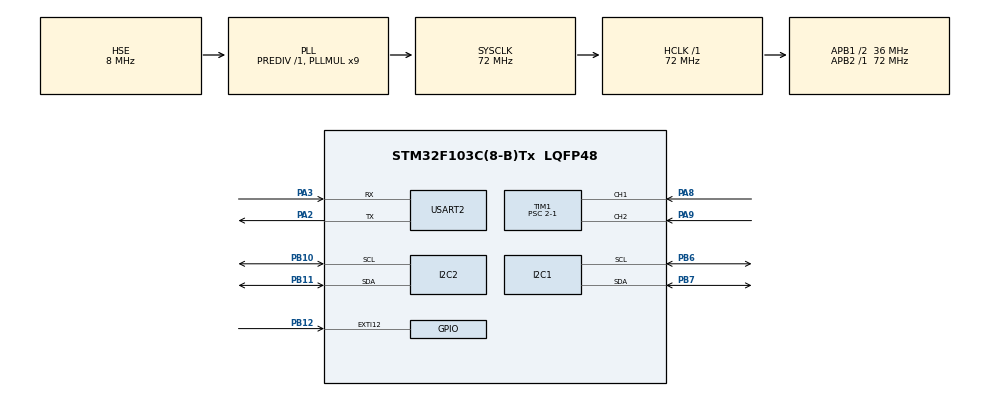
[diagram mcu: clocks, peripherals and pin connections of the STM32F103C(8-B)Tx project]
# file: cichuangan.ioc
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Mcu.Family=STM32F1
Mcu.Name=STM32F103C(8-B)Tx
Mcu.Package=LQFP48
NVIC.EXTI15_10_IRQn=true\:1\:0\:true\:false\:true\:true\:true\:true
NVIC.PriorityGroup=NVIC_PRIORITYGROUP_4
NVIC.TIM2_IRQn=true\:2\:0\:true\:false\:true\:true\:true\:true
PA13.Mode=Serial_Wire
PA13.Signal=SYS_JTMS-SWDIO
PA14.Mode=Serial_Wire
PA14.Signal=SYS_JTCK-SWCLK
PA2.Mode=Asynchronous
PA2.Signal=USART2_TX
PA3.Mode=Asynchronous
PA3.Signal=USART2_RX
PA8.Signal=S_TIM1_CH1
PA9.Signal=S_TIM1_CH2
PB10.Mode=I2C
PB10.Signal=I2C2_SCL
PB11.Mode=I2C
PB11.Signal=I2C2_SDA
PB12.GPIO_ModeDefaultEXTI=GPIO_MODE_IT_FALLING
PB12.GPIO_PuPd=GPIO_PULLUP
PB12.Signal=GPXTI12
PB6.Mode=I2C
PB6.Signal=I2C1_SCL
PB7.Mode=I2C
PB7.Signal=I2C1_SDA
PD0-OSC_IN.Mode=HSE-External-Oscillator
PD0-OSC_IN.Signal=RCC_OSC_IN
PD1-OSC_OUT.Mode=HSE-External-Oscillator
PD1-OSC_OUT.Signal=RCC_OSC_OUT
ProjectManager.HeapSize=0x200
ProjectManager.StackSize=0x400
ProjectManager.TargetToolchain=MDK-ARM V5.32
RCC.AHBFreq_Value=72000000
RCC.APB1CLKDivider=RCC_HCLK_DIV2
RCC.APB1Freq_Value=36000000
RCC.APB1TimFreq_Value=72000000
RCC.APB2Freq_Value=72000000
RCC.APB2TimFreq_Value=72000000
RCC.HCLKFreq_Value=72000000
RCC.PLLMUL=RCC_PLL_MUL9
RCC.PLLSourceVirtual=RCC_PLLSOURCE_HSE
RCC.SYSCLKFreq_VALUE=72000000
RCC.SYSCLKSource=RCC_SYSCLKSOURCE_PLLCLK
RCC.USBFreq_Value=72000000
SH.S_TIM1_CH1.0=TIM1_CH1,Encoder_Interface
SH.S_TIM1_CH2.0=TIM1_CH2,Encoder_Interface
TIM1.IC1Filter=15
TIM1.IC2Filter=15
TIM1.IC2Polarity=TIM_ICPOLARITY_RISING
TIM1.Prescaler=2-1
TIM2.Period=1000-1
TIM2.Prescaler=72-1
USART2.VirtualMode=VM_ASYNC
VP_TIM2_VS_ClockSourceINT.Mode=Internal
board=custom

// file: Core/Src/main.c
/* USER CODE BEGIN Header */
/**
  ******************************************************************************
  * @file           : main.c
  * @brief          : Main program body
  ******************************************************************************
  * @attention
  *
  * Copyright (c) 2024 STMicroelectronics.
  * All rights reserved.
  *
  * This software is licensed under terms that can be found in the LICENSE file
  * in the root directory of this software component.
  * If no LICENSE file comes with this software, it is provided AS-IS.
  *
  ******************************************************************************
  */
/* USER CODE END Header */
#include "main.h"
#include "i2c.h"
#include "tim.h"
#include "usart.h"
#include "gpio.h"

/* USER CODE BEGIN Includes */
//#include "HMC5883.h"
//#include "5883.h"
#include "G85HAL.h"
#include "stdio.h"
#include "math.h"
#include "oled.h"
/* USER CODE END Includes */

/* USER CODE BEGIN PV */
_Bool flag_1s=0,flag_write;
double fangle,inclination;
float rawGaX,rawGaY,rawGaZ,Xoffest=0,Yoffest=0,Zoffest=0,Kx=1,Ky=1,Kz=1,GaX,GaY,GaZ,Magangle,K_x,K_y,K_z;
int modify_num=0;
float *modify_now=NULL;
uint32_t writeFlashData;
uint16_t Count=10000,last_Count=10000;
uint16_t Diretion=0;

/* USER CODE END PV */

void SystemClock_Config(void);

/* USER CODE BEGIN 0 */

#ifdef __GNUC__
#define PUTCHAR_PROTOTYPE int __io_putchar(int ch)
#else
#define PUTCHAR_PROTOTYPE int fputc(int ch, FILE *f)
#endif
PUTCHAR_PROTOTYPE
{
    //huart2
    HAL_UART_Transmit(&huart2 , (uint8_t *)&ch, 1 , 0xffff);
    return ch;
}

//debug 查看对应地址，是否正确，如果显示的是问号，则无此位置
//C6T6 32k  最大地址 0x08007FF0
//C8T6 64k  最大地址 0x0800FFE0
#define FLASH_SAVE_ADDR  0x08007000

static FLASH_EraseInitTypeDef EraseInitStruct = {
	.TypeErase = FLASH_TYPEERASE_PAGES,       //页擦除
	.PageAddress = FLASH_SAVE_ADDR,                //擦除地址
	.NbPages = 1                              //擦除页数
};

/* USER CODE END 0 */

int main(void)
{

  /* MCU Configuration--------------------------------------------------------*/

  /* Reset of all peripherals, Initializes the Flash interface and the Systick. */
  HAL_Init();

  /* Configure the system clock */
  SystemClock_Config();

  /* Initialize all configured peripherals */
  MX_GPIO_Init();
  MX_USART2_UART_Init();
  MX_I2C1_Init();
  MX_I2C2_Init();
  MX_TIM2_Init();
  MX_TIM1_Init();
  /* USER CODE BEGIN 2 */

	OLED_Init();
	//Init_HMC5883L_HAL_test(&hi2c1);
	//HAL_Delay(10);
	//hmc5883l_rawread(&rawGaX,&rawGaY,&rawGaZ);
//	K_x=(951+0.001)/820/rawGaX;
//	K_y=(951+0.001)/820/rawGaY;
//	K_z=(886+0.001)/820/rawGaZ;
	Init_HMC5883L_HAL(&hi2c1);
	TIM2->ARR=7200-1;
	TIM2->PSC=5000-1;
	HAL_TIM_Base_Start_IT(&htim2);
	TIM1->ARR=50000;
	TIM1->PSC=2-1;
	HAL_TIM_Encoder_Start(&htim1,TIM_CHANNEL_ALL);
	__HAL_TIM_SetCounter(&htim1,30000);

	Xoffest=(*(__IO uint32_t*)0x08007000+0.0001)/100;
	if(Xoffest>8) Xoffest-=10;
 // printf("%.2f",Kx);
	Kx=(*(__IO uint32_t*)0x08007004+0.0001)/100;
	Yoffest=(*(__IO uint32_t*)0x08007008+0.0001)/100;
	if(Yoffest>8) Yoffest-=10;
	Ky=(*(__IO uint32_t*)0x0800700C+0.0001)/100;
	Zoffest=(*(__IO uint32_t*)0x08007010+0.0001)/100;
	Kz=(*(__IO uint32_t*)0x08007014+0.0001)/100;
	if(Zoffest>8) Zoffest-=10;
//	caliboration(&Xoffest,&Yoffest,&Zoffest,&Kx,&Ky,&Kz);

//	Xoffest=-0.18;
//	Kx=2.49;
//	Yoffest=0.14;
//	Ky=2.79;
//	Zoffest=0.68;
//	Kz=1.47;

  /* USER CODE END 2 */

  /* Infinite loop */
  /* USER CODE BEGIN WHILE */

  while (1)
  {

//				HAL_Delay(500);
				//判断写入是否按下
				if(flag_write==1)
				{
					flag_write=0;
					HAL_FLASH_Unlock();
					uint32_t PageError = 0;
					__disable_irq();                             //擦除前关闭中断
					if (HAL_FLASHEx_Erase(&EraseInitStruct,&PageError) == HAL_OK)
					{
							printf("擦除 成功\r\n");
					}
					__enable_irq();                             //擦除后打开中断

					if(Xoffest<0) writeFlashData = Xoffest*100+1000;
					else writeFlashData = Xoffest*100;        //待写入的值
					uint32_t addr = 0x08007000;                  //写入的地址
					HAL_FLASH_Program(FLASH_TYPEPROGRAM_WORD,addr, writeFlashData);
					printf("at address:0x%x, read value:0x%x\r\n", addr, *(__IO uint32_t*)addr);

					writeFlashData = Kx*100;        //待写入的值
					addr=0x08007004;                  //写入的地址
					HAL_FLASH_Program(FLASH_TYPEPROGRAM_WORD,addr, writeFlashData);
					printf("at address:0x%x, read value:0x%x\r\n", addr, *(__IO uint32_t*)addr);

					if(Yoffest<0) writeFlashData =Yoffest*100+1000;
					else writeFlashData = Yoffest*100;        //待写入的值
					addr=0x08007008;                  //写入的地址
					HAL_FLASH_Program(FLASH_TYPEPROGRAM_WORD,addr, writeFlashData);
					printf("at address:0x%x, read value:0x%x\r\n", addr, *(__IO uint32_t*)addr);

					writeFlashData = Ky*100;        //待写入的值
					addr=0x0800700C;                  //写入的地址
					HAL_FLASH_Program(FLASH_TYPEPROGRAM_WORD,addr, writeFlashData);
					printf("at address:0x%x, read value:0x%x\r\n", addr, *(__IO uint32_t*)addr);

					if(Zoffest<0) writeFlashData =Zoffest*100+1000;
					writeFlashData = Zoffest*100;        //待写入的值
					addr=0x08007010;                  //写入的地址
					HAL_FLASH_Program(FLASH_TYPEPROGRAM_WORD,addr, writeFlashData);
					printf("at address:0x%x, read value:0x%x\r\n", addr, *(__IO uint32_t*)addr);

					writeFlashData = Kz*100;        //待写入的值
					addr=0x08007014;                  //写入的地址
					HAL_FLASH_Program(FLASH_TYPEPROGRAM_WORD,addr, writeFlashData);
					printf("at address:0x%x, read value:0x%x\r\n", addr, *(__IO uint32_t*)addr);

					OLED_ShowString(4,15,"ok");
					HAL_Delay(2000);
					OLED_ShowString(4,15,"  ");

					HAL_FLASH_Lock();
				}

				if(flag_1s==1)
				{
					flag_1s=0;
					hmc5883l_rawread(&rawGaX,&rawGaY,&rawGaZ);
					GaX = (rawGaX - Xoffest) * Kx;
					GaY = (rawGaY - Yoffest) * Ky;
					GaZ = (rawGaZ - Zoffest) * Kz;
					if((GaX > 0)&&(GaY > 0)) Magangle = atan(GaY/GaX)*57;
					else if((GaX > 0)&&(GaY < 0)) Magangle = 360+atan(GaY/GaX)*57;
					else if((GaX == 0)&&(GaY > 0)) Magangle = 90;
					else if((GaX == 0)&&(GaY < 0)) Magangle = 270;
					else if(GaX < 0) Magangle = 180+atan(GaY/GaX)*57;
					double temp=sqrt(GaX*GaX+GaY*GaY);
					inclination= atan((GaZ+0.001)/temp)*57.3;
					char temp_c[20];

					switch(modify_num)
					{
						case 0:break;
						case 1:
						{
							OLED_ShowString(1,7,"     ");
							modify_now=&Xoffest;
						}break;
						case 2:
						{
							OLED_ShowString(1,13,"    ");
							modify_now=&Kx;
						}break;
						case 3:
						{
							OLED_ShowString(2,7,"     ");
							modify_now=&Yoffest;
						}break;
						case 4:
						{
							OLED_ShowString(2,13,"    ");
							modify_now=&Ky;
						}break;
						case 5:
						{
							OLED_ShowString(3,7,"     ");
							modify_now=&Zoffest;
						}break;
						case 6:
						{
							OLED_ShowString(3,13,"    ");
							modify_now=&Kz;
						}break;
					}

					sprintf(temp_c,"%.2f ",GaX);
					//OLED_ShowString(1,1,"      ");
					OLED_ShowString(1,1,temp_c);
					sprintf(temp_c,"%.2f",Xoffest);
					//OLED_ShowString(1,7,"     ");
					OLED_ShowString(1,7,temp_c);
					sprintf(temp_c,"%.2f",Kx);
					//OLED_ShowString(1,13,"     ");
					OLED_ShowString(1,13,temp_c);

					sprintf(temp_c,"%.2f ",GaY);
				//	OLED_ShowString(2,1,"      ");
					OLED_ShowString(2,1,temp_c);
					sprintf(temp_c,"%.2f",Yoffest);
					//OLED_ShowString(2,7,"     ");
					OLED_ShowString(2,7,temp_c);
					sprintf(temp_c,"%.2f",Ky);
					//OLED_ShowString(2,13,"     ");
					OLED_ShowString(2,13,temp_c);

					sprintf(temp_c,"%.2f ",GaZ);
				//	OLED_ShowString(3,1,"      ");
					OLED_ShowString(3,1,temp_c);
					sprintf(temp_c,"%.2f",Zoffest);
					//OLED_ShowString(3,7,"     ");
					OLED_ShowString(3,7,temp_c);
					sprintf(temp_c,"%.2f",Kz);
					//OLED_ShowString(2,13,"     ");
					OLED_ShowString(3,13,temp_c);

					sprintf(temp_c,"%.2f",Magangle);
				//	OLED_ShowString(4,1,"     ");
					OLED_ShowString(4,1,temp_c);

					sprintf(temp_c,"%.2f",inclination);
				//	OLED_ShowString(4,8,"     ");
					OLED_ShowString(4,8,temp_c);

					//修改参数
				last_Count=Count;
				Diretion =  __HAL_TIM_IS_TIM_COUNTING_DOWN(&htim1);
				Count = __HAL_TIM_GET_COUNTER(&htim1);
				printf("转动方向:%d  脉冲数:%d \r\n",Diretion,Count );
				if(Diretion==0) if(Count-last_Count<0) last_Count=Count-1;
				if(Diretion==1) if(Count-last_Count>0) last_Count=Count+1;
				if(modify_num!=0) *modify_now+=0.01*(Count-last_Count);

					HAL_TIM_Base_Start_IT(&htim2);
				}

    /* USER CODE END WHILE */

  }
}

void SystemClock_Config(void)
{
  RCC_OscInitTypeDef RCC_OscInitStruct = {0};
  RCC_ClkInitTypeDef RCC_ClkInitStruct = {0};

  /** Initializes the RCC Oscillators according to the specified parameters
  * in the RCC_OscInitTypeDef structure.
  */
  RCC_OscInitStruct.OscillatorType = RCC_OSCILLATORTYPE_HSE;
  RCC_OscInitStruct.HSEState = RCC_HSE_ON;
  RCC_OscInitStruct.HSEPredivValue = RCC_HSE_PREDIV_DIV1;
  RCC_OscInitStruct.HSIState = RCC_HSI_ON;
  RCC_OscInitStruct.PLL.PLLState = RCC_PLL_ON;
  RCC_OscInitStruct.PLL.PLLSource = RCC_PLLSOURCE_HSE;
  RCC_OscInitStruct.PLL.PLLMUL = RCC_PLL_MUL9;
  if (HAL_RCC_OscConfig(&RCC_OscInitStruct) != HAL_OK)
  {
    Error_Handler();
  }

  /** Initializes the CPU, AHB and APB buses clocks
  */
  RCC_ClkInitStruct.ClockType = RCC_CLOCKTYPE_HCLK|RCC_CLOCKTYPE_SYSCLK
                              |RCC_CLOCKTYPE_PCLK1|RCC_CLOCKTYPE_PCLK2;
  RCC_ClkInitStruct.SYSCLKSource = RCC_SYSCLKSOURCE_PLLCLK;
  RCC_ClkInitStruct.AHBCLKDivider = RCC_SYSCLK_DIV1;
  RCC_ClkInitStruct.APB1CLKDivider = RCC_HCLK_DIV2;
  RCC_ClkInitStruct.APB2CLKDivider = RCC_HCLK_DIV1;

  if (HAL_RCC_ClockConfig(&RCC_ClkInitStruct, FLASH_LATENCY_2) != HAL_OK)
  {
    Error_Handler();
  }
}

/* USER CODE BEGIN 4 */
void HAL_GPIO_EXTI_Callback(uint16_t GPIO_Pin)
{
	if(GPIO_Pin==GPIO_PIN_12)
	{
		HAL_Delay(20);
		if(HAL_GPIO_ReadPin(GPIOB,GPIO_PIN_12)==GPIO_PIN_RESET)
		{
			HAL_Delay(400);
			if(HAL_GPIO_ReadPin(GPIOB,GPIO_PIN_12)==GPIO_PIN_RESET)
			{
				while(HAL_GPIO_ReadPin(GPIOB,GPIO_PIN_12)==GPIO_PIN_RESET)
				{

				}
				//changan
				flag_write=1;
				printf("changan\r\n");

			}
			else
			{
				//duanan
				printf("duanan\r\n");
				modify_num+=1;
				if(modify_num==7) modify_num=0;
			}
		}
	}
}

void HAL_TIM_PeriodElapsedCallback(TIM_HandleTypeDef *htim)
{
	if(htim->Instance==htim2.Instance)
	{
				HAL_TIM_Base_Stop(&htim2);
				flag_1s=1;
	}
}
/* USER CODE END 4 */

void Error_Handler(void)
{
  __disable_irq();
  while (1)
  {
  }
}
